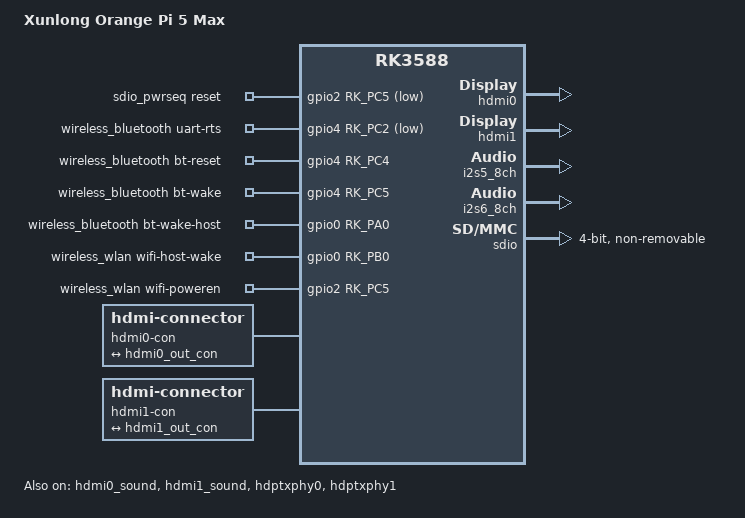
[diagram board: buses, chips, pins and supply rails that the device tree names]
// SPDX-License-Identifier: (GPL-2.0+ OR MIT)

/dts-v1/;

#include <dt-bindings/gpio/gpio.h>
#include <dt-bindings/pinctrl/rockchip.h>
#include <dt-bindings/soc/rockchip,vop2.h>
#include "rk3588-orangepi-5-compact.dtsi"

/ {
	model = "Xunlong Orange Pi 5 Max";
	compatible = "xunlong,orangepi-5-max", "rockchip,rk3588";

	sdio_pwrseq: sdio-pwrseq {
		compatible = "mmc-pwrseq-simple";
		clocks = <&hym8563>;
		clock-names = "ext_clock";
		pinctrl-names = "default";
		pinctrl-0 = <&wifi_enable_h>;
		post-power-on-delay-ms = <200>;
		reset-gpios = <&gpio2 RK_PC5 GPIO_ACTIVE_LOW>;
	};

	wireless_bluetooth: wireless-bluetooth {
		compatible = "bluetooth-platdata";
		uart-rts-gpio = <&gpio4 RK_PC2 GPIO_ACTIVE_LOW>;
		bt-reset-gpio = <&gpio4 RK_PC4 GPIO_ACTIVE_HIGH>;
		bt-wake-gpio = <&gpio4 RK_PC5 GPIO_ACTIVE_HIGH>;
		bt-wake-host-gpio = <&gpio0 RK_PA0 GPIO_ACTIVE_HIGH>;
		pinctrl-names = "default", "rts_gpio";
		pinctrl-0 = <&uart7m0_rtsn &bt_reset_gpio &bt_wake_gpio &bt_irq_gpio>;
		pinctrl-1 = <&uart7_gpios>;
		clocks = <&hym8563>;
		clock-names = "ext_clock";
		status = "okay";
	};

	wireless_wlan: wireless-wlan {
		compatible = "wlan-platdata";
		wifi_chip_type = "ap6611";
		wifi-host-wake-gpio = <&gpio0 RK_PB0 GPIO_ACTIVE_HIGH>;
		wifi-poweren-gpio = <&gpio2 RK_PC5 GPIO_ACTIVE_HIGH>;
		pinctrl-names = "default";
		pinctrl-0 = <&wifi_host_wake_irq>;
		status = "okay";
	};

	hdmi0-con {
		compatible = "hdmi-connector";
		type = "a";

		port {
			hdmi0_con_in: endpoint {
				remote-endpoint = <&hdmi0_out_con>;
			};
		};
	};
	
	hdmi0-sound {
		status = "okay";
		compatible = "rockchip,hdmi";
		rockchip,mclk-fs = <0x80>;
		rockchip,card-name = "rockchip-hdmi0";
		rockchip,cpu = <&i2s5_8ch>;
		rockchip,codec = <&hdmi0>;
		rockchip,jack-det;
	};

	hdmi1-con {
		compatible = "hdmi-connector";
		type = "a";

		port {
			hdmi1_con_in: endpoint {
				remote-endpoint = <&hdmi1_out_con>;
			};
		};
	};

	hdmi1-sound {
		status = "okay";
		compatible = "rockchip,hdmi";
		rockchip,mclk-fs = <0x80>;
		rockchip,card-name = "rockchip-hdmi1";
		rockchip,cpu = <&i2s6_8ch>;
		rockchip,codec = <&hdmi1>;
		rockchip,jack-det;
	};
};

&hdmi0 {
	status = "okay";
};

&hdmi0_in {
	hdmi0_in_vp0: endpoint {
		remote-endpoint = <&vp0_out_hdmi0>;
	};
};

&hdmi0_out {
	hdmi0_out_con: endpoint {
		remote-endpoint = <&hdmi0_con_in>;
	};
};

&hdmi0_sound {
	status = "okay";
};

&hdmi1 {
	pinctrl-names = "default";
	pinctrl-0 = <&hdmim0_tx1_cec &hdmim0_tx1_hpd
			     &hdmim1_tx1_scl &hdmim1_tx1_sda>;
	status = "okay";
};

&hdmi1_in {
	hdmi1_in_vp1: endpoint {
		remote-endpoint = <&vp1_out_hdmi1>;
	};
};

&hdmi1_out {
	hdmi1_out_con: endpoint {
		remote-endpoint = <&hdmi1_con_in>;
	};
};

&hdmi1_sound {
	status = "okay";
};

&hdptxphy0 {
	status = "okay";
};

&hdptxphy1 {
	status = "okay";
};

&i2s5_8ch {
	status = "okay";
};

&i2s6_8ch {
	status = "okay";
};

&led_blue_pwm {
	pwms = <&pwm4 0 25000 0>;
};

&led_green_pwm {
	pwms = <&pwm5 0 25000 0>;
};

&pinctrl {


	sdio-pwrseq {
		wifi_enable_h: wifi-enable-h {
			rockchip,pins = <2 RK_PC5 RK_FUNC_GPIO &pcfg_pull_none>;
		};
	};
	usb {
		usb_otg_pwren: usb-otg-pwren {
			rockchip,pins = <4 RK_PB3 RK_FUNC_GPIO &pcfg_pull_none>;
		};
	};

	wireless-bluetooth {
		uart7_gpios: uart7-gpios {
			rockchip,pins = <4 RK_PC2 RK_FUNC_GPIO &pcfg_pull_none>;
		};

		bt_reset_gpio: bt-reset-gpio {
			rockchip,pins = <4 RK_PC4 RK_FUNC_GPIO &pcfg_pull_none>;
		};

		bt_wake_gpio: bt-wake-gpio {
			rockchip,pins = <4 RK_PC5 RK_FUNC_GPIO &pcfg_pull_none>;
		};

		bt_irq_gpio: bt-irq-gpio {
			rockchip,pins = <0 RK_PA0 RK_FUNC_GPIO &pcfg_pull_down>;
		};
	};

	wireless-wlan {
		wifi_host_wake_irq: wifi-host-wake-irq {
			rockchip,pins = <0 RK_PB0 RK_FUNC_GPIO &pcfg_pull_down>;
		};
	};
};

&vp0 {
	vp0_out_hdmi0: endpoint@ROCKCHIP_VOP2_EP_HDMI0 {
		reg = <ROCKCHIP_VOP2_EP_HDMI0>;
		remote-endpoint = <&hdmi0_in_vp0>;
	};
};

&vp1 {
	vp1_out_hdmi1: endpoint@ROCKCHIP_VOP2_EP_HDMI1 {
		reg = <ROCKCHIP_VOP2_EP_HDMI1>;
		remote-endpoint = <&hdmi1_in_vp1>;
	};
};

&sdio {
	status = "okay";
	pinctrl-names = "default";
	pinctrl-0 = <&sdiom0_pins>;
	no-sd;
	no-mmc;
	bus-width = <4>;
	disable-wp;
	cap-sd-highspeed;
	cap-sdio-irq;
	keep-power-in-suspend;
	non-removable;
	max-frequency = <150000000>;
	sd-uhs-sdr104;
	mmc-pwrseq = <&sdio_pwrseq>;
};
